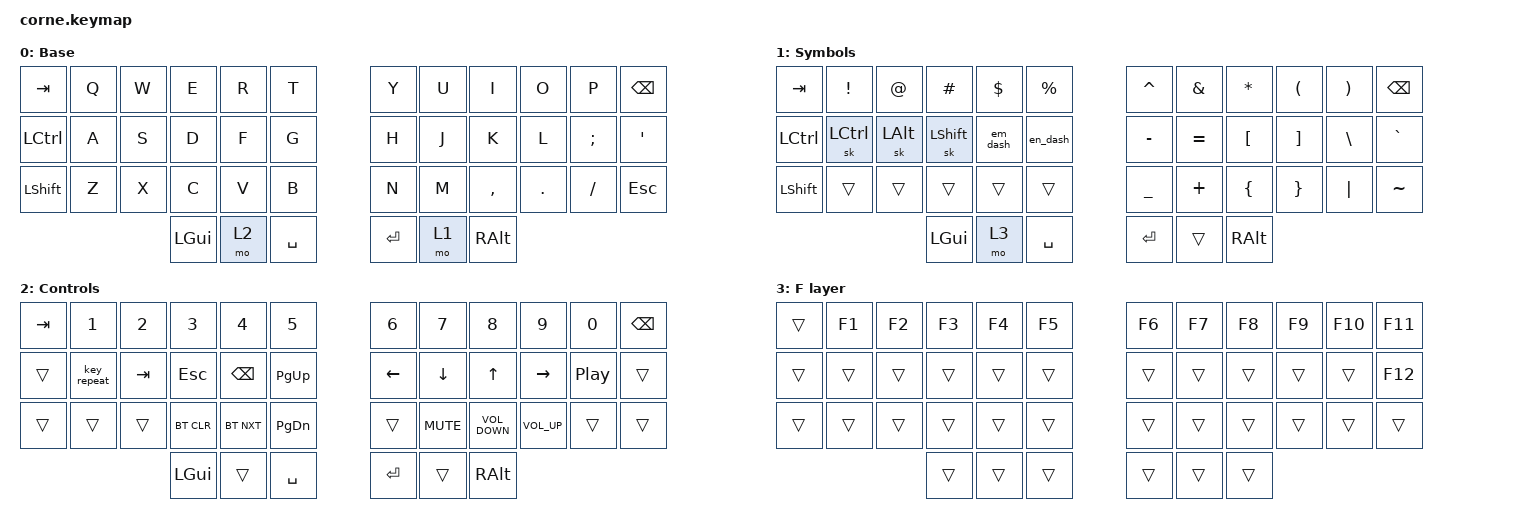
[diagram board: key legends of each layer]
/*
 * Copyright (c) 2020 The ZMK Contributors
 *
 * SPDX-License-Identifier: MIT
 */

#include <behaviors.dtsi>
#include <dt-bindings/zmk/bt.h>
#include <dt-bindings/zmk/keys.h>

&sk {
    quick-release;
    lazy;
    bindings = <&kp>;
};

/ {
    macros {
        em_dash: em_dash {
            compatible = "zmk,behavior-macro";
            #binding-cells = <0>;
            bindings = <&kp LC(LS(U)) &kp N2 &kp N0 &kp N1 &kp N4 &kp SPACE>;
            label = "EM_DASH";
        };

        en_dash: en_dash {
            compatible = "zmk,behavior-macro";
            #binding-cells = <0>;
            bindings = <&kp LC(LS(U)) &kp N2 &kp N0 &kp N1 &kp N3 &kp SPACE>;
            label = "EN_DASH";
        };
    };

    keymap {
        compatible = "zmk,keymap";

        default_layer {
            // -----------------------------------------------------------------------------------------
            // |  TAB |  Q  |  W  |  E  |  R  |  T  |   |  Y  |  U   |  I  |  O  |  P  | BKSP |
            // | CTRL |  A  |  S  |  D  |  F  |  G  |   |  H  |  J   |  K  |  L  |  ;  |  '   |
            // | SHFT |  Z  |  X  |  C  |  V  |  B  |   |  N  |  M   |  ,  |  .  |  /  | ESC  |
            //                    | GUI | LWR | SPC |   | ENT | RSE  | ALT |

            display-name = "Base";
            bindings = <
&kp TAB    &kp Q  &kp W  &kp E     &kp R  &kp T        &kp Y    &kp U  &kp I      &kp O    &kp P     &kp BSPC
&kp LCTRL  &kp A  &kp S  &kp D     &kp F  &kp G        &kp H    &kp J  &kp K      &kp L    &kp SEMI  &kp SQT
&kp LSHFT  &kp Z  &kp X  &kp C     &kp V  &kp B        &kp N    &kp M  &kp COMMA  &kp DOT  &kp FSLH  &kp ESC
                         &kp LGUI  &mo 2  &kp SPACE    &kp RET  &mo 1  &kp RALT
            >;
        };

        symbols_layer {
            // -----------------------------------------------------------------------------------------
            // |  TAB |  !  |  @  |  #  |  $  |  %  |   |  ^  |  &  |  *  |  (  |  )  | BKSP |
            // | CTRL |     |     |     |     |     |   |  -  |  =  |  [  |  ]  |  \  |  `   |
            // | SHFT |     |     |     |     |     |   |  _  |  +  |  {  |  }  | "|" |  ~   |
            //                    | GUI |     | SPC |   | ENT |     | ALT |

            display-name = "Symbols";
            bindings = <
&kp TAB    &kp EXCL          &kp AT        &kp HASH        &kp DLLR  &kp PRCNT    &kp CARET  &kp AMPS   &kp ASTERISK  &kp LPAR  &kp RPAR  &kp BSPC
&kp LCTRL  &sk LEFT_CONTROL  &sk LEFT_ALT  &sk LEFT_SHIFT  &em_dash  &en_dash     &kp MINUS  &kp EQUAL  &kp LBKT      &kp RBKT  &kp BSLH  &kp GRAVE
&kp LSHFT  &trans            &trans        &trans          &trans    &trans       &kp UNDER  &kp PLUS   &kp LBRC      &kp RBRC  &kp PIPE  &kp TILDE
                                           &kp LGUI        &mo 3     &kp SPACE    &kp RET    &trans     &kp RALT
            >;
        };

        controls_layer {
            // -----------------------------------------------------------------------------------------
            // |  TAB |  1  |  2  |  3  |  4  |  5  |   |  6  |  7  |  8  |  9  |  0  | BKSP |
            // | BTCLR| BT1 | BT2 | BT3 | BT4 | BT5 |   | LFT | DWN |  UP | RGT |     |      |
            // | SHFT |     |     |     |     |     |   |     |     |     |     |     |      |
            //                    | GUI |     | SPC |   | ENT |     | ALT |

            display-name = "Controls";
            bindings = <
&kp TAB  &kp N1       &kp N2   &kp N3      &kp N4         &kp N5           &kp N6    &kp N7      &kp N8             &kp N9           &kp N0            &kp BSPC
&trans   &key_repeat  &kp TAB  &kp ESCAPE  &kp BACKSPACE  &kp PAGE_UP      &kp LEFT  &kp DOWN    &kp UP             &kp RIGHT        &kp C_PLAY_PAUSE  &trans
&trans   &trans       &trans   &bt BT_CLR  &bt BT_NXT     &kp PAGE_DOWN    &trans    &kp K_MUTE  &kp C_VOLUME_DOWN  &kp C_VOLUME_UP  &trans            &trans
                               &kp LGUI    &trans         &kp SPACE        &kp RET   &trans      &kp RALT
            >;
        };

        F_layer {
            bindings = <
&trans  &kp F1  &kp F2  &kp F3  &kp F4  &kp F5    &kp F6  &kp F7  &kp F8  &kp F9  &kp F10  &kp F11
&trans  &trans  &trans  &trans  &trans  &trans    &trans  &trans  &trans  &trans  &trans   &kp F12
&trans  &trans  &trans  &trans  &trans  &trans    &trans  &trans  &trans  &trans  &trans   &trans
                        &trans  &trans  &trans    &trans  &trans  &trans
            >;

            label = "F layer";
        };
    };
};
